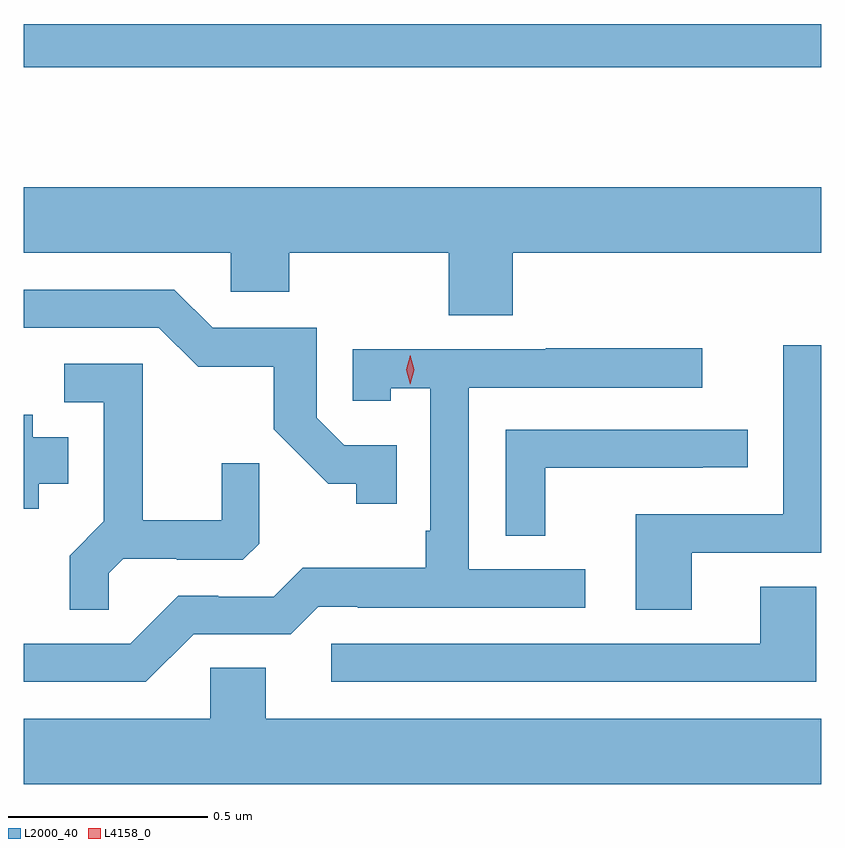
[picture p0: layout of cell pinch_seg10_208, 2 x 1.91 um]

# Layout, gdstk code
import gdstk
lib = gdstk.Library(unit=1e-6, precision=1e-09)
def R(c, l, rs):  # rectangles x0, y0, x1, y1
    for r in rs: c.add(gdstk.rectangle(r[:2], r[2:], *l))
def P(c, l, *ps):  # polygons
    for p in ps: c.add(gdstk.Polygon(p, *l))
L2000_40 = (2000, 40)
L4158_0 = (4158, 0)

pinch_seg10_208 = lib.new_cell('pinch_seg10_208')
R(pinch_seg10_208, L2000_40, [(780.87,1270.146,782.87,1270.254)])
P(pinch_seg10_208, L2000_40, [(782.096,1269.68),(782.87,1269.68),(782.87,1269.844),(780.87,1269.844),(780.87,1269.68),(781.389,1269.68),(781.389,1269.582),(781.536,1269.582),(781.536,1269.68),(781.936,1269.68),(781.936,1269.523),(782.096,1269.523)],
  [(781.805,1269.198),(781.674,1269.198),(781.605,1269.267),(781.605,1269.492),(781.344,1269.492),(781.248,1269.588),(780.87,1269.588),(780.87,1269.492),(781.209,1269.492),(781.308,1269.394),(781.497,1269.394),(781.497,1269.238),(781.634,1269.101),(781.704,1269.101),(781.704,1269.051),(781.805,1269.051)],
  [(782.545,1268.928),(782.87,1268.928),(782.87,1269.448),(782.775,1269.448),(782.775,1269.024),(782.405,1269.024),(782.405,1268.785),(782.545,1268.785)],
  [(781.296,1268.724),(781.539,1268.724),(781.608,1268.793),(781.708,1268.793),(781.708,1268.79),(782.278,1268.79),(782.278,1268.886),(781.986,1268.886),(781.986,1269.342),(782.572,1269.342),(782.572,1269.441),(782.179,1269.441),(782.179,1269.438),(781.695,1269.438),(781.695,1269.309),(781.791,1269.309),(781.791,1269.341),(781.89,1269.341),(781.89,1268.983),(781.878,1268.983),(781.878,1268.89),(781.57,1268.89),(781.497,1268.817),(781.358,1268.817),(781.358,1268.82),(781.257,1268.82),(781.137,1268.7),(780.87,1268.7),(780.87,1268.604),(781.176,1268.604)],
  [(781.083,1268.876),(781.12,1268.913),(781.254,1268.913),(781.254,1268.91),(781.419,1268.91),(781.46,1268.951),(781.46,1269.153),(781.366,1269.153),(781.366,1269.01),(781.169,1269.01),(781.169,1269.402),(780.972,1269.402),(780.972,1269.306),(781.071,1269.306),(781.071,1269.007),(780.985,1268.921),(780.985,1268.785),(781.083,1268.785)],
  [(780.907,1269.101),(780.982,1269.101),(780.982,1269.217),(780.892,1269.217),(780.892,1269.274),(780.87,1269.274),(780.87,1269.038),(780.907,1269.038)],
  [(782.178,1269.141),(782.573,1269.141),(782.573,1269.142),(782.686,1269.142),(782.686,1269.237),(782.079,1269.237),(782.079,1268.971),(782.178,1268.971)],
  [(782.857,1268.843),(782.717,1268.843),(782.717,1268.7),(781.641,1268.7),(781.641,1268.604),(782.857,1268.604)],
  [(782.87,1268.512),(781.477,1268.512),(781.477,1268.639),(781.338,1268.639),(781.338,1268.512),(780.87,1268.512),(780.87,1268.348),(782.87,1268.348)])
P(pinch_seg10_208, L4158_0, [(781.839,1269.35),(781.839,1269.351),(781.829,1269.387),(781.839,1269.423),(781.839,1269.423),(781.839,1269.423),(781.849,1269.387),(781.839,1269.351)])

lib.write_gds('pinch_seg10_208.gds')
